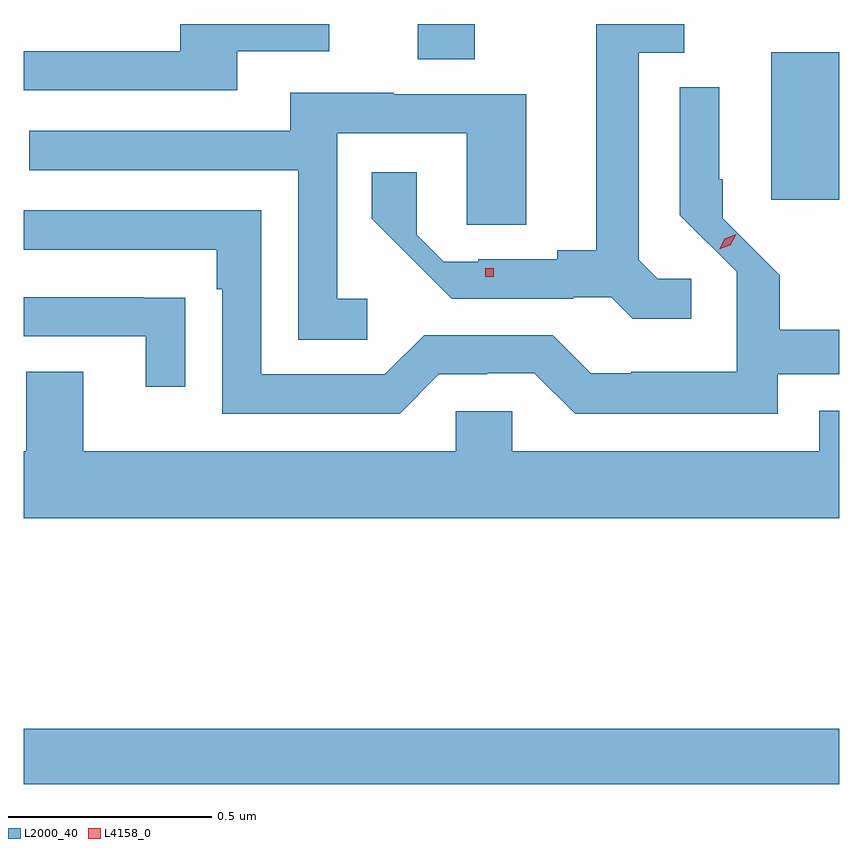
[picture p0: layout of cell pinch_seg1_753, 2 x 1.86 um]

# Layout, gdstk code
import gdstk
lib = gdstk.Library(unit=1e-6, precision=1e-09)
def R(c, l, rs):  # rectangles x0, y0, x1, y1
    for r in rs: c.add(gdstk.rectangle(r[:2], r[2:], *l))
def P(c, l, *ps):  # polygons
    for p in ps: c.add(gdstk.Polygon(p, *l))
L2000_40 = (2000, 40)
L4158_0 = (4158, 0)

pinch_seg1_753 = lib.new_cell('pinch_seg1_753')
R(pinch_seg1_753, L2000_40, [(639.701,503.128,641.701,503.264), (641.534,504.56,641.701,504.922), (640.667,504.904,640.807,504.991)])
P(pinch_seg1_753, L2000_40, [(641.338,504.366),(641.256,504.366),(641.209,504.413),(641.209,504.921),(641.32,504.921),(641.32,504.991),(641.105,504.991),(641.105,504.437),(641.009,504.437),(641.009,504.414),(640.816,504.414),(640.816,504.408),(640.731,504.408),(640.665,504.474),(640.665,504.628),(640.555,504.628),(640.555,504.514),(640.751,504.318),(641.048,504.318),(641.048,504.321),(641.142,504.321),(641.194,504.269),(641.338,504.269)],
  [(640.225,504.924),(640.45,504.924),(640.45,504.991),(640.085,504.991),(640.085,504.924),(639.701,504.924),(639.701,504.828),(640.225,504.828)],
  [(641.55,504.132),(641.701,504.132),(641.701,504.241),(641.555,504.241),(641.555,504.375),(641.415,504.515),(641.415,504.61),(641.406,504.61),(641.406,504.836),(641.31,504.836),(641.31,504.522),(641.449,504.384),(641.449,504.139),(641.191,504.139),(641.191,504.135),(641.091,504.135),(640.998,504.228),(640.683,504.228),(640.587,504.132),(640.284,504.132),(640.284,504.534),(639.701,504.534),(639.701,504.438),(640.175,504.438),(640.175,504.341),(640.188,504.341),(640.188,504.036),(640.623,504.036),(640.719,504.132),(640.838,504.132),(640.838,504.135),(640.953,504.135),(641.053,504.035),(641.55,504.035)],
  [(640.543,504.318),(640.47,504.318),(640.47,504.723),(640.787,504.723),(640.787,504.499),(640.933,504.499),(640.933,504.819),(640.609,504.819),(640.609,504.823),(640.355,504.823),(640.355,504.729),(639.715,504.729),(639.715,504.633),(640.374,504.633),(640.374,504.217),(640.543,504.217)],
  [(640.097,504.32),(639.995,504.32),(639.995,504.321),(639.701,504.321),(639.701,504.225),(640.001,504.225),(640.001,504.102),(640.097,504.102)],
  [(641.701,504.043),(641.651,504.043),(641.651,503.944),(640.899,503.944),(640.899,504.042),(640.761,504.042),(640.761,503.944),(639.847,503.944),(639.847,504.139),(639.707,504.139),(639.707,503.944),(639.701,503.944),(639.701,503.78),(641.701,503.78)])
R(pinch_seg1_753, L4158_0, [(640.833,504.372,640.853,504.392)])
P(pinch_seg1_753, L4158_0, [(641.406,504.439),(641.406,504.439),(641.42,504.464),(641.447,504.475),(641.448,504.475),(641.448,504.475),(641.433,504.449),(641.406,504.439)])

lib.write_gds('pinch_seg1_753.gds')
